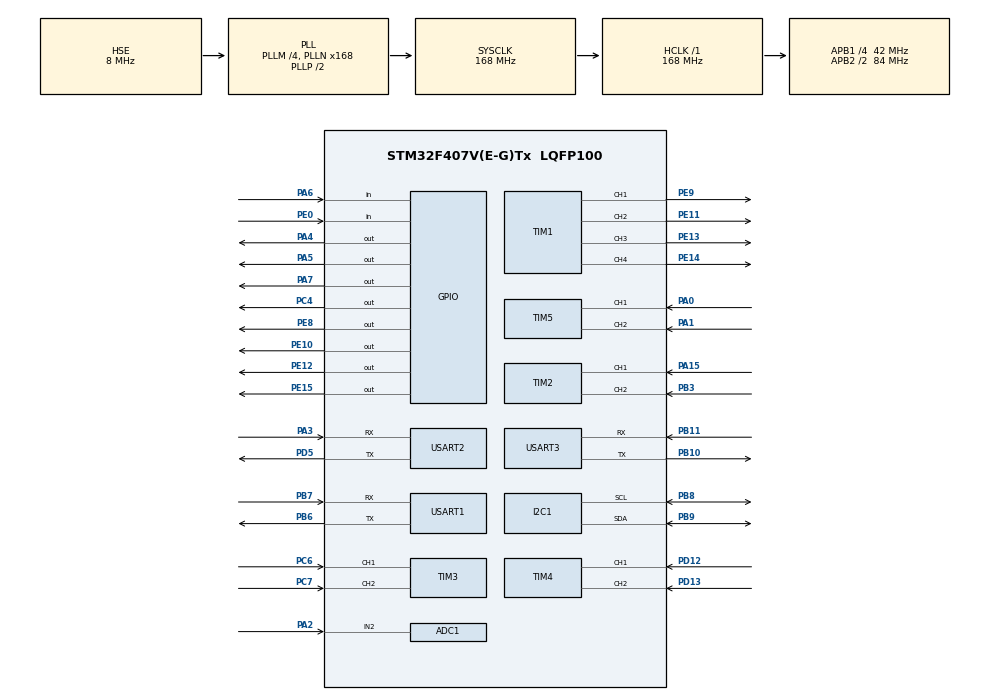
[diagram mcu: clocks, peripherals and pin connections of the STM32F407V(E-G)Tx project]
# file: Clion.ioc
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ADC1.Channel-0\#ChannelRegularConversion=ADC_CHANNEL_2
ADC1.NbrOfConversionFlag=1
ADC1.Rank-0\#ChannelRegularConversion=1
ADC1.SamplingTime-0\#ChannelRegularConversion=ADC_SAMPLETIME_3CYCLES
ADC1.master=1
Mcu.Family=STM32F4
Mcu.Name=STM32F407V(E-G)Tx
Mcu.Package=LQFP100
NVIC.PriorityGroup=NVIC_PRIORITYGROUP_4
NVIC.TIM6_DAC_IRQn=true\:15\:0\:false\:false\:true\:false\:true\:true
NVIC.TimeBase=TIM6_DAC_IRQn
NVIC.TimeBaseIP=TIM6
NVIC.USART2_IRQn=true\:0\:0\:false\:false\:true\:true\:true\:true
NVIC.USART3_IRQn=true\:0\:0\:false\:false\:true\:true\:true\:true
PA0-WKUP.Signal=S_TIM5_CH1
PA1.Signal=S_TIM5_CH2
PA13.Mode=Serial_Wire
PA13.Signal=SYS_JTMS-SWDIO
PA14.Mode=Serial_Wire
PA14.Signal=SYS_JTCK-SWCLK
PA15.Signal=S_TIM2_CH1_ETR
PA2.Signal=ADCx_IN2
PA3.Mode=Asynchronous
PA3.Signal=USART2_RX
PA4.Signal=GPIO_Output
PA5.Signal=GPIO_Output
PA6.Signal=GPIO_Input
PA7.Signal=GPIO_Output
PB10.Mode=Asynchronous
PB10.Signal=USART3_TX
PB11.Mode=Asynchronous
PB11.Signal=USART3_RX
PB3.Signal=S_TIM2_CH2
PB6.Mode=Asynchronous
PB6.Signal=USART1_TX
PB7.Mode=Asynchronous
PB7.Signal=USART1_RX
PB8.Mode=I2C
PB8.Signal=I2C1_SCL
PB9.Mode=I2C
PB9.Signal=I2C1_SDA
PC4.Signal=GPIO_Output
PC6.Signal=S_TIM3_CH1
PC7.Signal=S_TIM3_CH2
PD12.Signal=S_TIM4_CH1
PD13.Signal=S_TIM4_CH2
PD5.Mode=Asynchronous
PD5.Signal=USART2_TX
PE0.Signal=GPIO_Input
PE10.Signal=GPIO_Output
PE11.Signal=S_TIM1_CH2
PE12.Signal=GPIO_Output
PE13.Signal=S_TIM1_CH3
PE14.Signal=S_TIM1_CH4
PE15.Signal=GPIO_Output
PE8.Signal=GPIO_Output
PE9.Signal=S_TIM1_CH1
PH0-OSC_IN.Mode=HSE-External-Oscillator
PH0-OSC_IN.Signal=RCC_OSC_IN
PH1-OSC_OUT.Mode=HSE-External-Oscillator
PH1-OSC_OUT.Signal=RCC_OSC_OUT
ProjectManager.HeapSize=0x200
ProjectManager.StackSize=0x400
ProjectManager.TargetToolchain=CMake
RCC.48MHZClocksFreq_Value=84000000
RCC.AHBFreq_Value=168000000
RCC.APB1CLKDivider=RCC_HCLK_DIV4
RCC.APB1Freq_Value=42000000
RCC.APB1TimFreq_Value=84000000
RCC.APB2CLKDivider=RCC_HCLK_DIV2
RCC.APB2Freq_Value=84000000
RCC.APB2TimFreq_Value=168000000
RCC.CortexFreq_Value=168000000
RCC.HCLKFreq_Value=168000000
RCC.HSE_VALUE=8000000
RCC.HSI_VALUE=16000000
RCC.LSE_VALUE=32768
RCC.PLLM=4
RCC.PLLN=168
RCC.PLLSourceVirtual=RCC_PLLSOURCE_HSE
RCC.SYSCLKFreq_VALUE=168000000
RCC.SYSCLKSource=RCC_SYSCLKSOURCE_PLLCLK
RCC.VCOOutputFreq_Value=336000000
SH.ADCx_IN2.0=ADC1_IN2,IN2
SH.S_TIM1_CH1.0=TIM1_CH1,PWM Generation1 CH1
SH.S_TIM1_CH2.0=TIM1_CH2,PWM Generation2 CH2
SH.S_TIM1_CH3.0=TIM1_CH3,PWM Generation3 CH3
SH.S_TIM1_CH4.0=TIM1_CH4,PWM Generation4 CH4
SH.S_TIM2_CH1_ETR.0=TIM2_CH1,Encoder_Interface
SH.S_TIM2_CH2.0=TIM2_CH2,Encoder_Interface
SH.S_TIM3_CH1.0=TIM3_CH1,Encoder_Interface
SH.S_TIM3_CH2.0=TIM3_CH2,Encoder_Interface
SH.S_TIM4_CH1.0=TIM4_CH1,Encoder_Interface
SH.S_TIM4_CH2.0=TIM4_CH2,Encoder_Interface
SH.S_TIM5_CH1.0=TIM5_CH1,Encoder_Interface
SH.S_TIM5_CH2.0=TIM5_CH2,Encoder_Interface
TIM1.Channel-PWM\ Generation1\ CH1=TIM_CHANNEL_1
TIM1.Channel-PWM\ Generation2\ CH2=TIM_CHANNEL_2
TIM1.Channel-PWM\ Generation3\ CH3=TIM_CHANNEL_3
TIM1.Channel-PWM\ Generation4\ CH4=TIM_CHANNEL_4
USART1.VirtualMode=VM_ASYNC
USART2.VirtualMode=VM_ASYNC
USART3.VirtualMode=VM_ASYNC
VP_SYS_VS_tim6.Mode=TIM6
board=custom

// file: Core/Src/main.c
/* USER CODE BEGIN Header */
/**
  ******************************************************************************
  * @file           : main.c
  * @brief          : Main program body
  ******************************************************************************
  * @attention
  *
  * Copyright (c) 2026 STMicroelectronics.
  * All rights reserved.
  *
  * This software is licensed under terms that can be found in the LICENSE file
  * in the root directory of this software component.
  * If no LICENSE file comes with this software, it is provided AS-IS.
  *
  ******************************************************************************
  */
/* USER CODE END Header */
#include "main.h"
#include "adc.h"
#include "i2c.h"
#include "tim.h"
#include "usart.h"
#include "gpio.h"

/* USER CODE BEGIN Includes */
#include "stm32f4xx_hal.h"
#include <stdio.h>
#include <string.h>
#include <math.h>

#include "battery.h"
#include "motor.h"
#include "mpu6050.h"
#include "ps2.h"
#include "esp_link.h"
#include "pc_link.h"
#include "ssd1306.h"
#include "encoder.h"
#include "link_proto.h"
#include "link_diag.h"

#include "robot_config.h"
#include "robot_control.h"
/* USER CODE END Includes */

/* USER CODE BEGIN PV */
MPU6050_Data_t imu_data;
static BatteryStatus_t batt;
PS2_TypeDef ps2;
static uint8_t s_uv_limit_active = 0;
static uint8_t s_uv_cutoff_active = 0;
static float s_nominal_duty_limit = 0.80f;
static volatile uint8_t s_ctrl_pending = 0u;
static volatile uint8_t s_ctrl_tick_div = 0u;
/* USER CODE END PV */

void SystemClock_Config(void);

/* USER CODE BEGIN 0 */
static void USART_SendString(const char *s);
static uint8_t System_IsCriticalPathBusy(void);

static void Safety_WatchdogInit(void)
{
#if IWDG_ENABLE
  uint32_t reload = (IWDG_TIMEOUT_MS * 32000u) / (256u * 1000u);
  if (reload == 0u) reload = 1u;
  if (reload > 0x0FFFu) reload = 0x0FFFu;
  uint32_t t0 = HAL_GetTick();

  IWDG->KR = 0x5555u;          // Enable write access
  IWDG->PR = 6u;               // Prescaler /256
  IWDG->RLR = reload - 1u;     // Reload value
  while (IWDG->SR != 0u) {
    if ((HAL_GetTick() - t0) > 50u) {
      USART_SendString("[SAFE] IWDG SR wait timeout, continue.\r\n");
      break;
    }
  }
  IWDG->KR = 0xAAAAu;          // Reload counter
  IWDG->KR = 0xCCCCu;          // Start watchdog
#endif
}

static void Safety_WatchdogFeed(void)
{
#if IWDG_ENABLE
  IWDG->KR = 0xAAAAu;
#endif
}

static void Safety_BatteryProtect(void)
{
#if BATT_PROTECT_ENABLE
  const float v = batt.voltage;

  if (!s_uv_cutoff_active && v <= BATT_CUTOFF_VOLTAGE) {
    s_uv_cutoff_active = 1;
    USART_SendString("[SAFE] Battery cutoff active\r\n");
  } else if (s_uv_cutoff_active && v >= BATT_CUTOFF_RECOVER_V) {
    s_uv_cutoff_active = 0;
    USART_SendString("[SAFE] Battery cutoff released\r\n");
  }

  if (!s_uv_limit_active && v <= BATT_LIMIT_VOLTAGE) {
    s_uv_limit_active = 1;
    USART_SendString("[SAFE] Battery limit active\r\n");
  } else if (s_uv_limit_active && v >= BATT_LIMIT_RECOVER_V) {
    s_uv_limit_active = 0;
    USART_SendString("[SAFE] Battery limit released\r\n");
  }

  if (s_uv_cutoff_active) {
    if (RobotControl_GetMode() != MODE_IDLE) {
      RobotControl_SetMode(MODE_IDLE);
    }
    motor_set_duty_limit(BATT_LIMIT_DUTY);
  } else if (s_uv_limit_active) {
    motor_set_duty_limit(BATT_LIMIT_DUTY);
  } else {
    motor_set_duty_limit(s_nominal_duty_limit);
  }
#endif
}

static void MPU6050_PrintStatus(void)
{
  uint8_t whoami = 0, pwr_mgmt_1 = 0, config = 0, gyro_cfg = 0, accel_cfg = 0;

  MPU6050_ReadReg(MPU6050_REG_WHO_AM_I, &whoami);
  MPU6050_ReadReg(MPU6050_REG_PWR_MGMT_1, &pwr_mgmt_1);
  MPU6050_ReadReg(MPU6050_REG_CONFIG, &config);
  MPU6050_ReadReg(MPU6050_REG_GYRO_CONFIG, &gyro_cfg);
  MPU6050_ReadReg(MPU6050_REG_ACCEL_CONFIG, &accel_cfg);

  char buf[128];
  int len = snprintf(buf, sizeof(buf),
                     "WHO_AM_I=0x%02X PWR_MGMT_1=0x%02X CONFIG=0x%02X "
                     "GYRO_CFG=0x%02X ACCEL_CFG=0x%02X\r\n",
                     whoami, pwr_mgmt_1, config, gyro_cfg, accel_cfg);
  HAL_UART_Transmit(&huart1, (uint8_t*)buf, len, 100);
}

static void USART_SendString(const char *s)
{
  HAL_UART_Transmit(&huart1, (uint8_t*)s, strlen(s), 100);
}

static uint8_t System_IsCriticalPathBusy(void)
{
  return (s_ctrl_pending > 0u) ? 1u : 0u;
}

static void I2C1_Scan(void)
{
  char buf[64];
  HAL_StatusTypeDef res;

  USART_SendString("I2C1 scan start...\r\n");

  for (uint8_t addr = 1; addr < 127; addr++)
  {
    res = HAL_I2C_IsDeviceReady(&hi2c1, (addr << 1), 1, 5);
    if (res == HAL_OK)
    {
      int n = snprintf(buf, sizeof(buf),
                       " - Found device at 0x%02X\r\n", addr);
      HAL_UART_Transmit(&huart1, (uint8_t*)buf, n, 100);
    }
    HAL_Delay(2);
  }

  USART_SendString("I2C1 scan done.\r\n");
}

#if PS2_ENABLE
static float PS2_AxisToNorm(uint8_t raw, uint8_t invert)
{
  const float center = 128.0f;
  float v = ((float)raw - center) / center;
  if (invert) {
    v = -v;
  }
  if (v > 1.0f) v = 1.0f;
  if (v < -1.0f) v = -1.0f;
  if (fabsf(v) < PS2_AXIS_DEADZONE) {
    v = 0.0f;
  }
  return v;
}

static void PS2_ApplyDpadFallback(const PS2_TypeDef *pad, float *v, float *w)
{
  if (!pad || !v || !w) {
    return;
  }
  if (fabsf(*v) < 0.001f) {
    if ((pad->btn1 & PS2_BTN_UP) && !(pad->btn1 & PS2_BTN_DOWN)) {
      *v = PS2_DPAD_V;
    } else if ((pad->btn1 & PS2_BTN_DOWN) && !(pad->btn1 & PS2_BTN_UP)) {
      *v = -PS2_DPAD_V;
    }
  }
  if (fabsf(*w) < 0.001f) {
    if ((pad->btn1 & PS2_BTN_LEFT) && !(pad->btn1 & PS2_BTN_RIGHT)) {
      *w = PS2_DPAD_W;
    } else if ((pad->btn1 & PS2_BTN_RIGHT) && !(pad->btn1 & PS2_BTN_LEFT)) {
      *w = -PS2_DPAD_W;
    }
  }
}
#endif

/* OLED鏄剧ず锛氭樉绀虹郴缁熻繍琛岀姸锟?*/
static void System_ShowStatus(void)
{
  const RobotControlState_t *st_dash = RobotControl_GetState();
  SSD1306_DashboardData_t dash;
  dash.uptime_s = HAL_GetTick() / 1000u;
  dash.mode = (uint8_t)RobotControl_GetMode();
  dash.src = st_dash ? (uint8_t)st_dash->src : 0u;
  dash.battery_v = batt.voltage;
  dash.battery_pct = batt.percent;
  dash.uv_limit_active = s_uv_limit_active;
  dash.uv_cutoff_active = s_uv_cutoff_active;
  SSD1306_ShowDashboard(&dash);
  return;

  char line1[20], line2[20], line3[20], line4[20];

  SSD1306_Fill(0);

  // 锟?琛岋細鐢垫睜鐢靛帇
  snprintf(line1, sizeof(line1), "BAT %.2fV", batt.voltage);
  SSD1306_GotoXY(0, 0);
  SSD1306_Puts(line1);

  // 第2行：电池百分比
  int pct = (int)(batt.percent + 0.5f);
  if (pct < 0) pct = 0;
  if (pct > 100) pct = 100;
  snprintf(line2, sizeof(line2), "%3d%%", pct);
  SSD1306_GotoXY(0, 8);
  SSD1306_Puts(line2);

  // 锟?琛岋細缂栫爜鍣ㄩ€熷害锛堢畝鍖栨樉绀猴級
  const RobotControlState_t *state = RobotControl_GetState();
  int vel_l = (int)fabsf(state->meas_cps[0]);
  int vel_r = (int)fabsf(state->meas_cps[2]);
  snprintf(line3, sizeof(line3), "L%04d R%04d", vel_l, vel_r);
  SSD1306_GotoXY(0, 16);
  SSD1306_Puts(line3);

  // 第4行：控制模式和状态
  const char *mode_str = (RobotControl_GetMode() == MODE_IDLE) ? "ID" :
                         (RobotControl_GetMode() == MODE_OPEN_LOOP) ? "OL" : "CL";
  const char *src_str = (state->src == CMD_SRC_PS2) ? "PS2" :
                        (state->src == CMD_SRC_PC) ? "PC" :
                        (state->src == CMD_SRC_ESP) ? "ESP" : "IDLE";
  snprintf(line4, sizeof(line4), "%s %s", mode_str, src_str);
  SSD1306_GotoXY(0, 24);
  SSD1306_Puts(line4);

  SSD1306_UpdateScreen();
}

/* 绯荤粺鑷鍑芥暟 */
static void System_SelfTest(void)
{
#if !SELFTEST_ENABLE
  return;
#endif
  char buf[128];
  int n;
  uint8_t test_ok = 1;

  USART_SendString("\r\n========== SYSTEM SELF TEST ==========\r\n");

  /* 1. 鐢垫睜妫€锟?*/
  USART_SendString("[1] Battery... ");
  Battery_Update(&batt);
  if (batt.voltage > 6.0f && batt.voltage < 12.0f) {
    n = snprintf(buf, sizeof(buf), "OK (%.2fV, %.1f%%)\r\n", batt.voltage, batt.percent);
    USART_SendString(buf);
  } else {
    n = snprintf(buf, sizeof(buf), "FAIL (%.2fV)\r\n", batt.voltage);
    USART_SendString(buf);
    test_ok = 0;
  }

  /* 2. 缂栫爜鍣ㄦ锟?*/
  USART_SendString("[2] Encoders... ");
  HAL_Delay(50);

  /* 璇诲彇鍒濆璁℃暟鍣拷?*/
  n = snprintf(buf, sizeof(buf), "CNT: L1=%d L2=%d R1=%d R2=%d\r\n",
               (int)__HAL_TIM_GET_COUNTER(&htim2),
               (int)__HAL_TIM_GET_COUNTER(&htim3),
               (int)__HAL_TIM_GET_COUNTER(&htim4),
               (int)__HAL_TIM_GET_COUNTER(&htim5));
  USART_SendString(buf);

  /* 妫€鏌ュ畾鏃跺櫒鏄惁浣胯兘 */
  USART_SendString("  TIM enabled: ");
  if (htim2.Instance->CR1 & TIM_CR1_CEN) USART_SendString("L1=OK ");
  else USART_SendString("L1=FAIL ");

  if (htim3.Instance->CR1 & TIM_CR1_CEN) USART_SendString("L2=OK ");
  else USART_SendString("L2=FAIL ");

  if (htim4.Instance->CR1 & TIM_CR1_CEN) USART_SendString("R1=OK ");
  else USART_SendString("R1=FAIL ");

  if (htim5.Instance->CR1 & TIM_CR1_CEN) USART_SendString("R2=OK ");
  else USART_SendString("R2=FAIL ");
  USART_SendString("\r\n");

  /* 妫€鏌ュ畾鏃跺櫒鏄惁閰嶇疆涓虹紪鐮佸櫒妯″紡 */
  USART_SendString("  TIM encoder mode: ");
  uint8_t tim2_enc = ((htim2.Instance->SMCR & TIM_SMCR_SMS) == 3) ? 1 : 0;
  uint8_t tim3_enc = ((htim3.Instance->SMCR & TIM_SMCR_SMS) == 3) ? 1 : 0;
  uint8_t tim4_enc = ((htim4.Instance->SMCR & TIM_SMCR_SMS) == 3) ? 1 : 0;
  uint8_t tim5_enc = ((htim5.Instance->SMCR & TIM_SMCR_SMS) == 3) ? 1 : 0;

  if (tim2_enc) USART_SendString("L1=OK ");
  else USART_SendString("L1=FAIL ");

  if (tim3_enc) USART_SendString("L2=OK ");
  else USART_SendString("L2=FAIL ");

  if (tim4_enc) USART_SendString("R1=OK ");
  else USART_SendString("R1=FAIL ");

  if (tim5_enc) USART_SendString("R2=OK ");
  else USART_SendString("R2=FAIL ");
  USART_SendString("\r\n");

  /* 鎵嬪姩杞姩杞瓙娴嬭瘯缂栫爜锟?*/
  USART_SendString("  Please rotate any wheel for a short time...\r\n");
  HAL_Delay(SELFTEST_ROTATE_MS);
  n = snprintf(buf, sizeof(buf), "  After rotate: L1=%d L2=%d R1=%d R2=%d\r\n",
               (int)__HAL_TIM_GET_COUNTER(&htim2),
               (int)__HAL_TIM_GET_COUNTER(&htim3),
               (int)__HAL_TIM_GET_COUNTER(&htim4),
               (int)__HAL_TIM_GET_COUNTER(&htim5));
  USART_SendString(buf);

  /* 妫€鏌IM3鍜孴IM5鐨勮缁嗗瘎瀛樺櫒鐘讹拷?*/
  USART_SendString("  TIM3 and TIM5 detailed status:\r\n");
  n = snprintf(buf, sizeof(buf), "    TIM3: CR1=0x%08X SMCR=0x%08X CCMR1=0x%08X CNT=%u\r\n",
               (unsigned int)htim3.Instance->CR1,
               (unsigned int)htim3.Instance->SMCR,
               (unsigned int)htim3.Instance->CCMR1,
               (unsigned int)__HAL_TIM_GET_COUNTER(&htim3));
  USART_SendString(buf);
  n = snprintf(buf, sizeof(buf), "    TIM5: CR1=0x%08X SMCR=0x%08X CCMR1=0x%08X CNT=%u\r\n",
               (unsigned int)htim5.Instance->CR1,
               (unsigned int)htim5.Instance->SMCR,
               (unsigned int)htim5.Instance->CCMR1,
               (unsigned int)__HAL_TIM_GET_COUNTER(&htim5));
  USART_SendString(buf);

  /* 妫€鏌CC鏃堕挓鏄惁浣胯兘 */
  USART_SendString("  RCC clock status:\r\n");
  RCC->APB1ENR |= RCC_APB1ENR_TIM3EN;
  RCC->APB1ENR |= RCC_APB1ENR_TIM5EN;
  n = snprintf(buf, sizeof(buf), "    APB1ENR=0x%08X (TIM3=bit1, TIM5=bit3)\r\n", (unsigned int)RCC->APB1ENR);
  USART_SendString(buf);
  if (RCC->APB1ENR & RCC_APB1ENR_TIM3EN) USART_SendString("    TIM3 clock: ENABLED\r\n");
  else USART_SendString("    TIM3 clock: DISABLED\r\n");
  if (RCC->APB1ENR & RCC_APB1ENR_TIM5EN) USART_SendString("    TIM5 clock: ENABLED\r\n");
  else USART_SendString("    TIM5 clock: DISABLED\r\n");

  /* 妫€鏌PIO妯″紡锛堣瘖鏂紪鐮佸櫒寮曡剼鏄惁姝ｇ‘閰嶇疆锟?*/
  USART_SendString("  GPIO mode check:\r\n");

  /* L1: PA15 (TIM2 CH1) */
  uint32_t pa_moder = GPIOA->MODER;
  uint8_t pa15_mode = (pa_moder >> (15 * 2)) & 0x3;  // PA15 bits 30-31
  n = snprintf(buf, sizeof(buf), "    L1 PA15 mode=%d (2=AF)\r\n", pa15_mode);
  USART_SendString(buf);

  /* L2: PC6/PC7 (TIM3 CH1/CH2) */
  uint32_t pc_moder = GPIOC->MODER;
  uint8_t pc6_mode = (pc_moder >> (6 * 2)) & 0x3;  // PC6 bits 12-13
  uint8_t pc7_mode = (pc_moder >> (7 * 2)) & 0x3;  // PC7 bits 14-15
  n = snprintf(buf, sizeof(buf), "    L2 PC6 mode=%d (2=AF) PC7 mode=%d (2=AF)\r\n",
               pc6_mode, pc7_mode);
  USART_SendString(buf);

  /* R1: PD12/PD13 (TIM4 CH1/CH2) */
  uint32_t pd_moder = GPIOD->MODER;
  uint8_t pd12_mode = (pd_moder >> (12 * 2)) & 0x3;  // PD12 bits 24-25
  uint8_t pd13_mode = (pd_moder >> (13 * 2)) & 0x3;  // PD13 bits 26-27
  n = snprintf(buf, sizeof(buf), "    R1 PD12 mode=%d (2=AF) PD13 mode=%d (2=AF)\r\n",
               pd12_mode, pd13_mode);
  USART_SendString(buf);

  /* R2: PA0/PA1 (TIM5 CH1/CH2) */
  pa_moder = GPIOA->MODER;
  uint8_t pa0_mode = (pa_moder >> (0 * 2)) & 0x3;  // PA0 bits 0-1
  uint8_t pa1_mode = (pa_moder >> (1 * 2)) & 0x3;  // PA1 bits 2-3
  n = snprintf(buf, sizeof(buf), "    R2 PA0 mode=%d (2=AF) PA1 mode=%d (2=AF)\r\n",
               pa0_mode, pa1_mode);
  USART_SendString(buf);

  /* 妫€鏌PIO Alternate Function閰嶇疆 */
  USART_SendString("  GPIO AF check:\r\n");
  uint32_t pa_afrl = GPIOA->AFR[0];  // PA0-PA7
  uint8_t pa0_af = (pa_afrl >> (0 * 4)) & 0xF;  // PA0 AF
  uint8_t pa1_af = (pa_afrl >> (1 * 4)) & 0xF;  // PA1 AF
  uint32_t pa_afrh = GPIOA->AFR[1];  // PA8-PA15
  uint8_t pa15_af = (pa_afrh >> (7 * 4)) & 0xF;  // PA15 AF
  n = snprintf(buf, sizeof(buf), "    PA0_AF=%d PA1_AF=%d PA15_AF=%d (expect 1=TIM2, 2=TIM3/5)\r\n",
               pa0_af, pa1_af, pa15_af);
  USART_SendString(buf);

  uint32_t pc_afrl = GPIOC->AFR[0];  // PC0-PC7
  uint8_t pc6_af = (pc_afrl >> (6 * 4)) & 0xF;  // PC6 AF
  uint8_t pc7_af = (pc_afrl >> (7 * 4)) & 0xF;  // PC7 AF
  n = snprintf(buf, sizeof(buf), "    PC6_AF=%d PC7_AF=%d (expect 2=TIM3)\r\n",
               pc6_af, pc7_af);
  USART_SendString(buf);

  uint32_t pd_afrh = GPIOD->AFR[1];  // PD8-PD15
  uint8_t pd12_af = (pd_afrh >> (4 * 4)) & 0xF;  // PD12 AF
  uint8_t pd13_af = (pd_afrh >> (5 * 4)) & 0xF;  // PD13 AF
  n = snprintf(buf, sizeof(buf), "    PD12_AF=%d PD13_AF=%d (expect 2=TIM4)\r\n",
               pd12_af, pd13_af);
  USART_SendString(buf);

  /* 妫€鏌PIO寮曡剼瀹為檯杈撳叆鐘舵€侊紙IDR锟? 妫€娴嬬紪鐮佸櫒淇″彿鏄惁瀛樺湪 */
  USART_SendString("  GPIO IDR check (signal presence):\r\n");

  /* 璇诲彇寮曡剼鐘讹拷?- 闈欐€佺姸锟?*/
  uint16_t pa_idr = GPIOA->IDR;
  uint16_t pb_idr = GPIOB->IDR;
  uint16_t pc_idr = GPIOC->IDR;
  uint16_t pd_idr = GPIOD->IDR;

  /* L1: PA15, PB3 */
  uint8_t l1_a = (pa_idr >> 15) & 0x1;
  uint8_t l1_b = (pb_idr >> 3) & 0x1;
  n = snprintf(buf, sizeof(buf), "    L1: PA15=%d PB3=%d\r\n", l1_a, l1_b);
  USART_SendString(buf);

  /* L2: PC6, PC7 */
  uint8_t l2_a = (pc_idr >> 6) & 0x1;
  uint8_t l2_b = (pc_idr >> 7) & 0x1;
  n = snprintf(buf, sizeof(buf), "    L2: PC6=%d PC7=%d\r\n", l2_a, l2_b);
  USART_SendString(buf);

  /* R1: PD12, PD13 */
  uint8_t r1_a = (pd_idr >> 12) & 0x1;
  uint8_t r1_b = (pd_idr >> 13) & 0x1;
  n = snprintf(buf, sizeof(buf), "    R1: PD12=%d PD13=%d\r\n", r1_a, r1_b);
  USART_SendString(buf);

  /* R2: PA0, PA1 */
  uint8_t r2_a = (pa_idr >> 0) & 0x1;
  uint8_t r2_b = (pa_idr >> 1) & 0x1;
  n = snprintf(buf, sizeof(buf), "    R2: PA0=%d PA1=%d\r\n", r2_a, r2_b);
  USART_SendString(buf);

  /* 妫€鏌IM CCR瀵勫瓨锟?- 纭TIM鏄惁鎺ユ敹鍒扮紪鐮佸櫒淇″彿 */
  USART_SendString("  TIM CCR check (capture values):\r\n");
  n = snprintf(buf, sizeof(buf), "    TIM2 CCR1=%u CCR2=%u\r\n",
               (unsigned int)__HAL_TIM_GET_COMPARE(&htim2, TIM_CHANNEL_1),
               (unsigned int)__HAL_TIM_GET_COMPARE(&htim2, TIM_CHANNEL_2));
  USART_SendString(buf);
  n = snprintf(buf, sizeof(buf), "    TIM3 CCR1=%u CCR2=%u\r\n",
               (unsigned int)__HAL_TIM_GET_COMPARE(&htim3, TIM_CHANNEL_1),
               (unsigned int)__HAL_TIM_GET_COMPARE(&htim3, TIM_CHANNEL_2));
  USART_SendString(buf);
  n = snprintf(buf, sizeof(buf), "    TIM4 CCR1=%u CCR2=%u\r\n",
               (unsigned int)__HAL_TIM_GET_COMPARE(&htim4, TIM_CHANNEL_1),
               (unsigned int)__HAL_TIM_GET_COMPARE(&htim4, TIM_CHANNEL_2));
  USART_SendString(buf);
  n = snprintf(buf, sizeof(buf), "    TIM5 CCR1=%u CCR2=%u\r\n",
               (unsigned int)__HAL_TIM_GET_COMPARE(&htim5, TIM_CHANNEL_1),
               (unsigned int)__HAL_TIM_GET_COMPARE(&htim5, TIM_CHANNEL_2));
  USART_SendString(buf);

#if SELFTEST_SIGNAL_CHECK
  /* 鍔ㄦ€佹祴璇曪細璇诲彇寮曡剼鐘舵€佸彉鍖栵紙妫€娴嬩俊鍙锋椿鍔級 */
  USART_SendString("  Signal activity test (rotate wheels):\r\n");
  uint32_t changes_l1 = 0, changes_l2 = 0, changes_r1 = 0, changes_r2 = 0;
  uint8_t last_l1_a = l1_a, last_l1_b = l1_b;
  uint8_t last_l2_a = l2_a, last_l2_b = l2_b;
  uint8_t last_r1_a = r1_a, last_r1_b = r1_b;
  uint8_t last_r2_a = r2_a, last_r2_b = r2_b;

  USART_SendString("  Rotating all wheels for a short time...\r\n");
  for (int i = 0; i < 10; i++) {
    pa_idr = GPIOA->IDR;
    pb_idr = GPIOB->IDR;
    pc_idr = GPIOC->IDR;
    pd_idr = GPIOD->IDR;

    l1_a = (pa_idr >> 15) & 0x1;
    l1_b = (pb_idr >> 3) & 0x1;
    l2_a = (pc_idr >> 6) & 0x1;
    l2_b = (pc_idr >> 7) & 0x1;
    r1_a = (pd_idr >> 12) & 0x1;
    r1_b = (pd_idr >> 13) & 0x1;
    r2_a = (pa_idr >> 0) & 0x1;
    r2_b = (pa_idr >> 1) & 0x1;

    if (l1_a != last_l1_a || l1_b != last_l1_b) changes_l1++;
    if (l2_a != last_l2_a || l2_b != last_l2_b) changes_l2++;
    if (r1_a != last_r1_a || r1_b != last_r1_b) changes_r1++;
    if (r2_a != last_r2_a || r2_b != last_r2_b) changes_r2++;

    last_l1_a = l1_a; last_l1_b = l1_b;
    last_l2_a = l2_a; last_l2_b = l2_b;
    last_r1_a = r1_a; last_r1_b = r1_b;
    last_r2_a = r2_a; last_r2_b = r2_b;

    HAL_Delay(SELFTEST_ROTATE_MS / 10);
  }

  n = snprintf(buf, sizeof(buf), "    Signal changes: L1=%lu L2=%lu R1=%lu R2=%lu\r\n",
               changes_l1, changes_l2, changes_r1, changes_r2);
  USART_SendString(buf);

  if (changes_l1 == 0) USART_SendString("    WARNING: L1 NO SIGNAL - Check wiring!\r\n");
  if (changes_l2 == 0) USART_SendString("    WARNING: L2 NO SIGNAL - Check wiring!\r\n");
  if (changes_r1 == 0) USART_SendString("    WARNING: R1 NO SIGNAL - Check wiring!\r\n");
  if (changes_r2 == 0) USART_SendString("    WARNING: R2 NO SIGNAL - Check wiring!\r\n");
#endif

  /* 3. 鐢垫満PWM妫€锟?*/
  USART_SendString("[3] Motor PWM (all 4 wheels)... ");
  motor_set(MOTOR_L1, 0.3f);
  motor_set(MOTOR_L2, 0.3f);
  motor_set(MOTOR_R1, 0.3f);
  motor_set(MOTOR_R2, 0.3f);
  HAL_Delay(1000);
  motor_set(MOTOR_L1, 0.0f);
  motor_set(MOTOR_L2, 0.0f);
  motor_set(MOTOR_R1, 0.0f);
  motor_set(MOTOR_R2, 0.0f);
  USART_SendString("OK\r\n");

  /* 4. IMU妫€锟?*/
  USART_SendString("[4] IMU MPU6050... ");
  if (MPU6050_ReadRaw(&imu_data) == HAL_OK) {
    MPU6050_Convert(&imu_data);
    n = snprintf(buf, sizeof(buf), "OK (ax=%.2f ay=%.2f az=%.2f)\r\n",
                 imu_data.ax_g, imu_data.ay_g, imu_data.az_g);
    USART_SendString(buf);
  } else {
    USART_SendString("FAIL\r\n");
    test_ok = 0;
  }

  /* 5. ESP01S閫氫俊妫€锟?*/
  USART_SendString("[5] ESP01S UART2... ");
  USART_SendString("OK (waiting for commands)\r\n");

  /* 6. OLED鏄剧ず妫€锟?*/
  USART_SendString("[6] OLED SSD1306... ");
  SSD1306_Fill(0);
  SSD1306_GotoXY(0, 0);
  SSD1306_Puts("SYSTEM TEST OK");
  SSD1306_UpdateScreen();
  USART_SendString("OK\r\n");

  /* 鎬荤粨 */
  USART_SendString("======================================\r\n");
  if (test_ok) {
    USART_SendString("RESULT: ALL TESTS PASSED\r\n");
  } else {
    USART_SendString("RESULT: SOME TESTS FAILED\r\n");
  }
  USART_SendString("======================================\r\n");
  USART_SendString("READY for commands...\r\n\r\n");
  (void)n;
}
/* USER CODE END 0 */

int main(void)
{

  /* MCU Configuration--------------------------------------------------------*/

  /* Reset of all peripherals, Initializes the Flash interface and the Systick. */
  HAL_Init();

  /* Configure the system clock */
  SystemClock_Config();

  /* Initialize all configured peripherals */
  MX_ADC1_Init();
  MX_I2C1_Init();

  /* 鍏堝垵濮嬪寲缂栫爜鍣ㄥ畾鏃跺櫒锛堝湪GPIO涔嬪墠锟?*/
  MX_TIM2_Init();
  MX_TIM3_Init();
  MX_TIM4_Init();
  MX_TIM5_Init();

  /* 鏈€鍚庡垵濮嬪寲GPIO锛堝彲鑳戒細瑕嗙洊鏌愪簺寮曡剼锛屼絾缂栫爜鍣ㄥ凡缁忓惎鍔級 */
  MX_GPIO_Init();

  MX_TIM1_Init();
  MX_USART1_UART_Init();
  MX_USART2_UART_Init();
  MX_USART3_UART_Init();
  /* USER CODE BEGIN 2 */
  HAL_GPIO_WritePin(GPIOA, GPIO_PIN_4, GPIO_PIN_RESET);

  /* 鐢垫満鍒濆鍖栦繚鎸佷笉锟?*/
  motor_init();
  motor_set_duty_limit(0.75f);    // limit startup/current spikes
  s_nominal_duty_limit = motor_get_duty_limit();
  motor_set(MOTOR_L1, 0.0f);
  motor_set(MOTOR_L2, 0.0f);
  motor_set(MOTOR_R1, 0.0f);
  motor_set(MOTOR_R2, 0.0f);
  Encoder_Init();
#if ENC_BOOT_CALIB_ENABLE
  USART_SendString("Encoder static calibration...\r\n");
  if (Encoder_CalibrateStatic(ENC_BOOT_CALIB_MS, ENC_BOOT_CALIB_SAMPLE_MS)) {
    USART_SendString("Encoder calibration OK\r\n");
  } else {
    USART_SendString("Encoder calibration WARN: wheel moved/noisy\r\n");
  }
#endif

  /* 鍚姩鎻愮ず */
  USART_SendString("\r\n===UART Monitor Start ===\r\n");
  {
    uint32_t csr = RCC->CSR;
    char rst[96];
    int rn = snprintf(rst, sizeof(rst),
                      "ResetFlags: IWDG=%u WWDG=%u POR=%u PIN=%u SFTRST=%u\r\n",
                      (csr & RCC_CSR_IWDGRSTF) ? 1u : 0u,
                      (csr & RCC_CSR_WWDGRSTF) ? 1u : 0u,
                      (csr & RCC_CSR_PORRSTF)  ? 1u : 0u,
                      (csr & RCC_CSR_PINRSTF)  ? 1u : 0u,
                      (csr & RCC_CSR_SFTRSTF)  ? 1u : 0u);
    HAL_UART_Transmit(&huart1, (uint8_t*)rst, rn, 100);
    __HAL_RCC_CLEAR_RESET_FLAGS();
  }

  I2C1_Scan();

  // 鍒濆锟?MPU6050
  HAL_StatusTypeDef st;
  char dbg[80];
  int n = 0;
  uint8_t imu_ready = 0;

  st = MPU6050_Init();
  if (st != HAL_OK)
  {
    n = snprintf(dbg, sizeof(dbg),
                 "MPU6050 Init FAIL, status=%d\r\n", (int)st);
    HAL_UART_Transmit(&huart1, (uint8_t*)dbg, n, 100);
    USART_SendString("IMU disabled, system continues without IMU.\r\n");
  }
  else
  {
    imu_ready = 1;
    USART_SendString("MPU6050 Init OK\r\n");
    MPU6050_PrintStatus();

    /* 初始化姿态融合模块 */
    Attitude_Init();
    USART_SendString("Attitude fusion initialized\r\n");

    /* 启动IMU校准 (机器人必须静止) */
    USART_SendString("Starting IMU calibration (keep robot still)...\r\n");
    Attitude_StartCalibration();
  }

  Battery_Init(&hadc1);
  ESP_Link_Init(&huart2);
  PC_Link_Init(&huart3);
  // === 鏂板锛歄LED 鍒濆锟?===
  if (SSD1306_Init() != HAL_OK) {
    USART_SendString("SSD1306 Init FAIL\r\n");
  } else {
    USART_SendString("SSD1306 Init OK\r\n");
    // 鍏堝仛涓€娆℃樉绀猴紝閬垮厤涓€寮€濮嬫槸绌哄睆
    batt.voltage = 0.0f;
    batt.percent = 0.0f;
    SSD1306_ShowBattery(&batt);
  }

  RobotControl_Init();
  s_nominal_duty_limit = motor_get_duty_limit();
  RobotControl_SetMode(MODE_CLOSED_LOOP);
  RobotControl_SetIMUEnabled(imu_ready ? 1 : 0);

  /* PS2 鍒濆鍖栵紙鍦ㄦ墍鏈夌紪鐮佸櫒鍜岀數鏈哄垵濮嬪寲瀹屾垚鍚庯級 */
#if PS2_ENABLE
  USART_SendString("PS2 Init...\r\n");
  PS2_Init();
  USART_SendString(PS2_IsCmdDatSwapped() ?
      "PS2 map: CMD/DAT swapped(auto)\r\n" :
      "PS2 map: normal\r\n");
  USART_SendString("PS2 Init done\r\n");
#endif

  /* 绯荤粺鑷 */
  System_SelfTest();
  Safety_WatchdogInit();
  Safety_WatchdogFeed();
  /* USER CODE END 2 */

  /* Infinite loop */
  /* USER CODE BEGIN WHILE */
  uint32_t last_ctrl = HAL_GetTick();
  uint32_t last_ps2 = last_ctrl;
  uint32_t last_imu = last_ctrl;
  uint32_t last_batt = last_ctrl;
  uint32_t last_oled = last_ctrl;
  uint32_t last_esp = last_ctrl;
  uint32_t last_pc = last_ctrl;
  uint32_t last_heartbeat = last_ctrl;
  uint32_t last_telemetry = last_ctrl;
  uint32_t last_ctrl_dbg = last_ctrl;
#if !PS2_ENABLE
  (void)last_ps2;
  (void)ps2;
#endif
  while (1) {
    uint32_t now = HAL_GetTick();

    /* ---------------- LED Heartbeat ---------------- */
    if (now - last_heartbeat >= HEARTBEAT_INTERVAL_MS) {
      last_heartbeat = now;
      HAL_GPIO_TogglePin(GPIOA, GPIO_PIN_4);
    }

    /* ---------------- PS2 鎵嬫焺鎵弿涓庢寚锟?---------------- */
#if PS2_ENABLE
    if (now - last_ps2 >= PS2_SCAN_INTERVAL_MS) {
      last_ps2 = now;
      if (PS2_Scan(&ps2)) {
        float v = PS2_AxisToNorm(ps2.LJoy_UD, PS2_V_AXIS_INVERT) * PS2_V_SCALE;
        float w = PS2_AxisToNorm(ps2.RJoy_LR, PS2_W_AXIS_INVERT) * PS2_W_SCALE;
        PS2_ApplyDpadFallback(&ps2, &v, &w);
        if ((fabsf(v) > 0.03f || fabsf(w) > 0.03f) &&
            RobotControl_GetMode() == MODE_IDLE &&
            !s_uv_cutoff_active) {
          RobotControl_SetMode(MODE_CLOSED_LOOP);
        }
        RobotControl_SetCmd_PS2(v, w, now);
      } else {
        /* PS2鎵弿澶辫触锛屽彧鍦ㄩ娆″け璐ユ椂璀﹀憡 */
        static uint8_t ps2_warned = 0;
        if (!ps2_warned) {
          USART_SendString("PS2: Invalid mode (0x");
          char hex[3];
          snprintf(hex, sizeof(hex), "%02X", ps2.mode);
          USART_SendString(hex);
          USART_SendString(") - Check connection!\r\n");
          ps2_warned = 1;
        }
      }
    }
#endif

    /* ---------------- IMU 更新 ---------------- */
    if (now - last_imu >= IMU_READ_INTERVAL_MS) {
      last_imu = now;
      if (imu_ready && MPU6050_ReadRaw(&imu_data) == HAL_OK) {
        MPU6050_Convert(&imu_data);
        RobotControl_UpdateIMU(&imu_data, 1, now);

        /* 检查IMU校准状态 */
        static IMU_CalibState_t last_calib_state = IMU_CALIB_IDLE;
        IMU_CalibState_t calib_state = Attitude_GetCalibState();
        if (calib_state != last_calib_state) {
          last_calib_state = calib_state;
          if (calib_state == IMU_CALIB_DONE) {
            USART_SendString("IMU calibration completed!\r\n");
          } else if (calib_state == IMU_CALIB_FAILED) {
            USART_SendString("IMU calibration FAILED\r\n");
          }
        }
      } else {
        RobotControl_UpdateIMU(NULL, 0, now);
      }
    }

    /* ---------------- 鐢垫睜鐢靛帇鏇存柊 ---------------- */
    if (now - last_batt >= BATTERY_INTERVAL_MS) {
      last_batt = now;
      Battery_Update(&batt);
      Safety_BatteryProtect();
    }

    if ((now - last_oled >= OLED_INTERVAL_MS) && !System_IsCriticalPathBusy()) {
      last_oled = now;
      System_ShowStatus();
    }

    /* ---------------- 缂栫爜锟?+ 鎺у埗闂幆 ---------------- */
    if (s_ctrl_pending > 0u) {
      uint8_t pending;
      __disable_irq();
      pending = s_ctrl_pending;
      s_ctrl_pending = 0u;
      __enable_irq();
      RobotControl_ReportControlBatch(pending);

      while (pending-- > 0u) {
        now = HAL_GetTick();
        float dt = (float)(now - last_ctrl) / 1000.0f;
        last_ctrl = now;
        if (dt <= 0.0f) {
          dt = (float)CTRL_PERIOD_MS / 1000.0f;
        }
        if (dt > 0.050f) {
          dt = (float)CTRL_PERIOD_MS / 1000.0f;
        }
        if (s_uv_cutoff_active && RobotControl_GetMode() != MODE_IDLE) {
          RobotControl_SetMode(MODE_IDLE);
        }
        Encoder_UpdateAll(dt);
        RobotControl_Update(dt, now);

        /* 璋冭瘯杈撳嚭锛氭樉绀哄綋鍓嶆帶鍒剁姸鎬侊紙鎵€锟?涓疆瀛愶級 */
        if (CTRL_DEBUG_ENABLE &&
            (now - last_ctrl_dbg >= CTRL_DEBUG_INTERVAL_MS) &&
            !System_IsCriticalPathBusy()) {
          last_ctrl_dbg = now;
          /* 运行期禁止在控制链路中做阻塞串口打印。 */
        }
      }
    }

    /* ---------------- ESP-01S 鍛戒护杞 ---------------- */
    if (now - last_esp >= ESP_POLL_INTERVAL_MS) {
      last_esp = now;
      ESP_Link_Poll(&batt, &imu_data);
    }

    /* ---------------- PC 鍛戒护杞 ---------------- */
    if (now - last_pc >= PC_POLL_INTERVAL_MS) {
      last_pc = now;
      PC_Link_Poll(&batt, &imu_data);
    }

    if (TELEMETRY_ENABLE &&
        (now - last_telemetry >= TELEMETRY_INTERVAL_MS) &&
        !System_IsCriticalPathBusy()) {
      last_telemetry = now;
      RobotControl_ReportTelemetry(now);
    }

    Safety_WatchdogFeed();
    /* USER CODE END WHILE */

  }
}

void SystemClock_Config(void)
{
  RCC_OscInitTypeDef RCC_OscInitStruct = {0};
  RCC_ClkInitTypeDef RCC_ClkInitStruct = {0};

  /** Configure the main internal regulator output voltage
  */
  __HAL_RCC_PWR_CLK_ENABLE();
  __HAL_PWR_VOLTAGESCALING_CONFIG(PWR_REGULATOR_VOLTAGE_SCALE1);

  /** Initializes the RCC Oscillators according to the specified parameters
  * in the RCC_OscInitTypeDef structure.
  */
  RCC_OscInitStruct.OscillatorType = RCC_OSCILLATORTYPE_HSE;
  RCC_OscInitStruct.HSEState = RCC_HSE_ON;
  RCC_OscInitStruct.PLL.PLLState = RCC_PLL_ON;
  RCC_OscInitStruct.PLL.PLLSource = RCC_PLLSOURCE_HSE;
  RCC_OscInitStruct.PLL.PLLM = 4;
  RCC_OscInitStruct.PLL.PLLN = 168;
  RCC_OscInitStruct.PLL.PLLP = RCC_PLLP_DIV2;
  RCC_OscInitStruct.PLL.PLLQ = 7;
  if (HAL_RCC_OscConfig(&RCC_OscInitStruct) != HAL_OK)
  {
    Error_Handler();
  }

  /** Initializes the CPU, AHB and APB buses clocks
  */
  RCC_ClkInitStruct.ClockType = RCC_CLOCKTYPE_HCLK|RCC_CLOCKTYPE_SYSCLK
                              |RCC_CLOCKTYPE_PCLK1|RCC_CLOCKTYPE_PCLK2;
  RCC_ClkInitStruct.SYSCLKSource = RCC_SYSCLKSOURCE_PLLCLK;
  RCC_ClkInitStruct.AHBCLKDivider = RCC_SYSCLK_DIV1;
  RCC_ClkInitStruct.APB1CLKDivider = RCC_HCLK_DIV4;
  RCC_ClkInitStruct.APB2CLKDivider = RCC_HCLK_DIV2;

  if (HAL_RCC_ClockConfig(&RCC_ClkInitStruct, FLASH_LATENCY_5) != HAL_OK)
  {
    Error_Handler();
  }
}

/* USER CODE BEGIN 4 */

void HAL_UART_RxCpltCallback(UART_HandleTypeDef *huart)
{
  ESP_Link_UART_RxCpltCallback(huart);
  PC_Link_UART_RxCpltCallback(huart);
}

void HAL_UART_TxCpltCallback(UART_HandleTypeDef *huart)
{
  LinkProto_UART_TxCpltCallback(huart);
  PC_Link_UART_TxCpltCallback(huart);
}

void HAL_UART_ErrorCallback(UART_HandleTypeDef *huart)
{
  ESP_Link_UART_ErrorCallback(huart);
  PC_Link_UART_ErrorCallback(huart);
}

/* USER CODE END 4 */

void HAL_TIM_PeriodElapsedCallback(TIM_HandleTypeDef *htim)
{
  if (htim->Instance == TIM6)
  {
    HAL_IncTick();
    s_ctrl_tick_div = (uint8_t)(s_ctrl_tick_div + CTRL_ISR_TICK_MS);
    if (s_ctrl_tick_div >= CTRL_PERIOD_MS) {
      s_ctrl_tick_div = 0u;
      if (s_ctrl_pending < 3u) {
        s_ctrl_pending++;
      }
    }
  }
}

void Error_Handler(void)
{
  __disable_irq();
  while (1)
  {
  }
}
